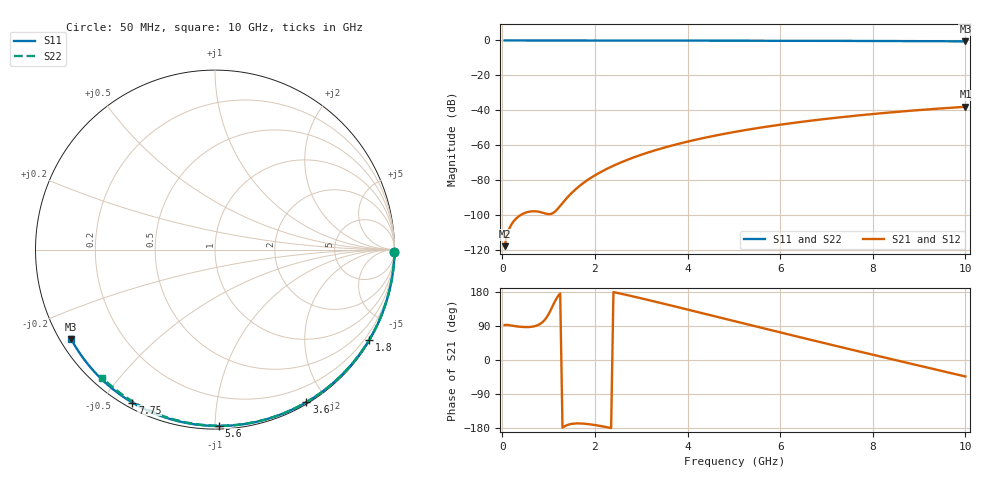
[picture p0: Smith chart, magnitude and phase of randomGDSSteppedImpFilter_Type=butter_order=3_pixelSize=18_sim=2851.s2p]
! freq	dB(S11)	phase(S11)	dB(S12)	phase(S12)
!  dB(S21)	phase(S21)	dB(S22)	phase(S22)
!S-par simulation data
#  GHz  S  DB  R 50
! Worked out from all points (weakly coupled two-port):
!   200 points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, 50 MHz to 10 GHz, reference 50 ohm
!   highest |S21| = -37.93 dB at 10 GHz (marker M1); lowest = -117.6 dB at 50 MHz (marker M2)
!   lowest |S11| = -0.5 dB at 10 GHz (marker M3), VSWR 34.45, Z = 1.57 - j14.2 ohm
!   |S11| at or under -10 dB: nowhere
!   |S22| runs from -0.4 to 0.0 dB; largest |S21 - S12| = 0
!   S11 on the Smith chart (normalised r, x): 50 MHz: open; 1.8 GHz: 0.03, -3.69; 3.6 GHz: 0.02, -1.76; 5.6 GHz: 0.02, -1.02; 7.75 GHz: 0.02, -0.60; 10 GHz: 0.03, -0.28
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0.05  -0.00 -0.9  -117.61 92.3  -117.61 92.3  -0.00 -0.8
0.45  -0.01 -7.7  -99.03 87.1  -99.03 87.1  -0.01 -6.8
0.9  -0.02 -15.3  -98.69 103.5  -98.69 103.5  -0.02 -13.6
1.75  -0.04 -29.5  -81.51 -167.9  -81.51 -167.9  -0.03 -26.2
1.8  -0.04 -30.3  -80.55 -168.4  -80.55 -168.4  -0.03 -26.9
1.85  -0.04 -31.1  -79.64 -169.1  -79.64 -169.1  -0.04 -27.6
2.05  -0.04 -34.4  -76.34 -172.6  -76.34 -172.6  -0.04 -30.6
2.2  -0.05 -36.8  -74.19 -175.9  -74.19 -175.9  -0.04 -32.8
2.55  -0.05 -42.5  -69.86 175.3  -69.86 175.3  -0.05 -37.8
2.95  -0.06 -48.9  -65.80 164.2  -65.80 164.2  -0.06 -43.5
3.4  -0.07 -56.0  -62.01 151.1  -62.01 151.1  -0.07 -49.9
3.6  -0.08 -59.1  -60.52 145.1  -60.52 145.1  -0.07 -52.6
4.3  -0.10 -69.8  -56.03 124.1  -56.03 124.1  -0.09 -62.2
5.05  -0.12 -80.9  -52.14 101.5  -52.14 101.5  -0.11 -72.2
5.6  -0.15 -88.8  -49.74 84.9  -49.74 84.9  -0.13 -79.3
6.15  -0.17 -96.5  -47.62 68.4  -47.62 68.4  -0.15 -86.2
6.7  -0.20 -104.2  -45.75 52.0  -45.75 52.0  -0.18 -93.0
7.2  -0.24 -111.0  -44.22 37.3  -44.22 37.3  -0.21 -99.0
7.75  -0.28 -118.3  -42.70 21.2  -42.70 21.2  -0.24 -105.6
8.35  -0.33 -126.3  -41.22 3.8  -41.22 3.8  -0.29 -112.6
9.2  -0.41 -137.6  -39.39 -20.6  -39.39 -20.6  -0.36 -122.3
10  -0.50 -148.2  -37.93 -43.5  -37.93 -43.5  -0.44 -131.3
